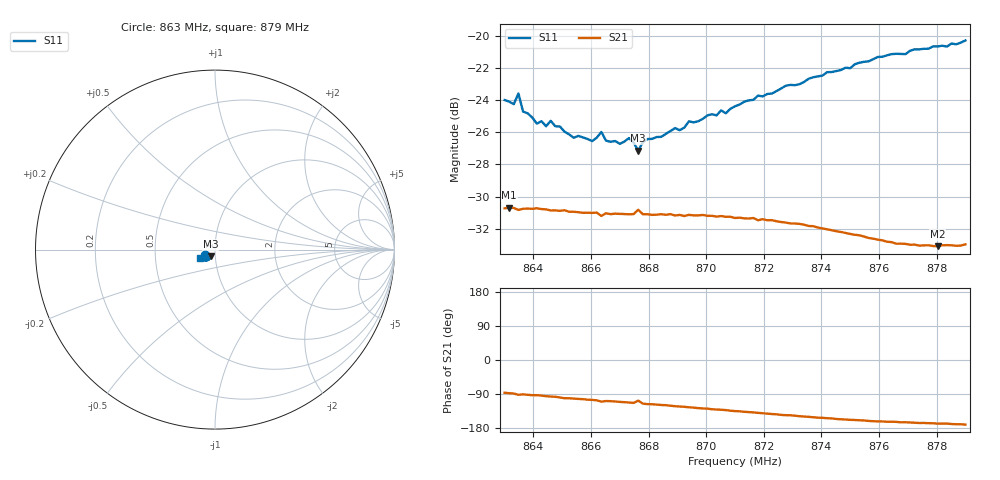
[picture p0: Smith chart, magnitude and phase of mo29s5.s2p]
# HZ S RI R 50
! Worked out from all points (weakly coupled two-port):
!   101 points, 863 MHz to 879 MHz, reference 50 ohm
!   highest |S21| = -30.69 dB at 863.16 MHz (marker M1); lowest = -33.1 dB at 878.04 MHz (marker M2)
!   lowest |S11| = -27.1 dB at 867.64 MHz (marker M3), VSWR 1.09, Z = 47.6 - j3.54 ohm
!   |S11| at or under -10 dB: start of sweep to end of sweep
!   S12 and S22 are empty: the file has one direction only
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8.63e8  -0.0547 -0.0314  0.00184 -0.029  0 0  0 0
8.6316e8  -0.0545 -0.0302  0.00122 -0.0292  0 0  0 0
8.6332e8  -0.0528 -0.0309  0.000778 -0.0291  0 0  0 0
8.6348e8  -0.058 -0.0318  -0.000916 -0.0287  0 0  0 0
8.6364e8  -0.05 -0.0296  -0.00033 -0.029  0 0  0 0
8.6412e8  -0.0447 -0.029  -0.00143 -0.0291  0 0  0 0
8.646e8  -0.0456 -0.0296  -0.0032 -0.0284  0 0  0 0
8.654e8  -0.0384 -0.029  -0.00579 -0.0278  0 0  0 0
8.6572e8  -0.0367 -0.0314  -0.00649 -0.0274  0 0  0 0
8.6604e8  -0.0352 -0.0312  -0.00743 -0.0271  0 0  0 0
8.6636e8  -0.0379 -0.0329  -0.00937 -0.0259  0 0  0 0
8.6652e8  -0.0334 -0.0333  -0.00876 -0.0267  0 0  0 0
8.67e8  -0.0317 -0.0335  -0.00981 -0.0262  0 0  0 0
8.6732e8  -0.0313 -0.0365  -0.0106 -0.0258  0 0  0 0
8.6764e8  -0.0234 -0.0372  -0.00851 -0.0275  0 0  0 0
8.6796e8  -0.0286 -0.0382  -0.0124 -0.025  0 0  0 0
8.6844e8  -0.028 -0.0396  -0.0134 -0.0244  0 0  0 0
8.71e8  -0.032 -0.0511  -0.0191 -0.0192  0 0  0 0
8.7372e8  -0.0438 -0.0599  -0.0224 -0.0124  0 0  0 0
8.7644e8  -0.0654 -0.0582  -0.0218 -0.00671  0 0  0 0
8.7804e8  -0.0767 -0.0517  -0.0217 -0.00464  0 0  0 0
8.79e8  -0.0852 -0.0454  -0.0222 -0.00371  0 0  0 0
